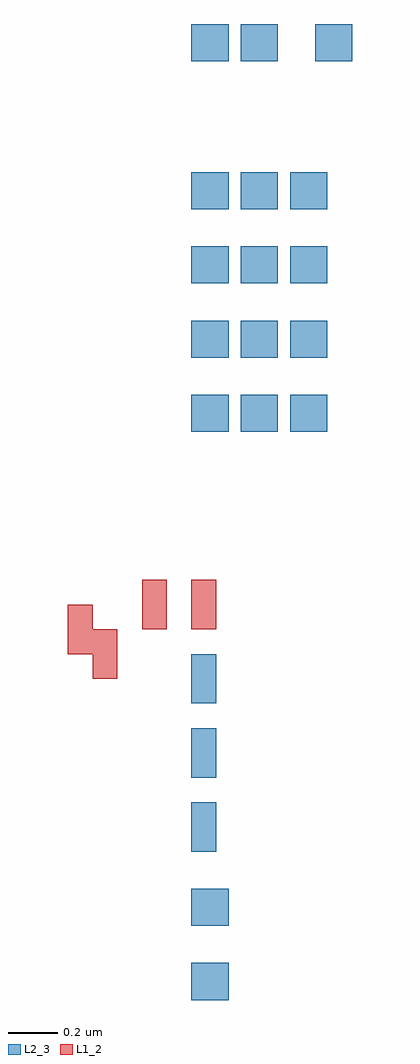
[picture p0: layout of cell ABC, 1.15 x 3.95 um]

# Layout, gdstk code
import gdstk
lib = gdstk.Library(unit=1e-6, precision=1e-09)
def R(c, l, rs):  # rectangles x0, y0, x1, y1
    for r in rs: c.add(gdstk.rectangle(r[:2], r[2:], *l))
def A(c, l, x, y, w, h, nx, ny, dx, dy):  # array of equal rectangles
    R(c, l, [(x+i*dx, y+j*dy, x+i*dx+w, y+j*dy+h) for i in range(nx) for j in range(ny)])
L1_2 = (1, 2)
L2_3 = (2, 3)

abc = lib.new_cell('ABC')
R(abc, L1_2, [(0.4,-0.5,0.5,-0.3), (0.3,-0.4,0.4,-0.2), (0.6,-0.3,0.7,-0.1), (0.8,-0.3,0.9,-0.1)])
A(abc, L2_3, 0.8, -1.2, 0.1, 0.2, 1, 3, 0, 0.3)
A(abc, L2_3, 0.8, 0.5, 0.15, 0.15, 3, 4, 0.2, 0.3)
R(abc, L2_3, [(0.8,-1.8,0.95,-1.65), (0.8,-1.5,0.95,-1.35), (0.8,2,0.95,2.15), (1,2,1.15,2.15), (1.3,2,1.45,2.15)])

lib.write_gds('ABC.gds')
